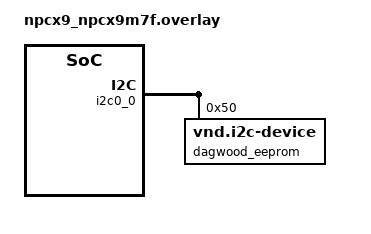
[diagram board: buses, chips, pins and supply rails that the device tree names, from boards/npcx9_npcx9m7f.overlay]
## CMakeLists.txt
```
# Copyright 2026 The ChromiumOS Authors
# Use of this source code is governed by a BSD-style license that can be
# found in the LICENSE file.

cmake_minimum_required(VERSION 3.20.0)
find_package(Zephyr REQUIRED HINTS $ENV{ZEPHYR_BASE})
project(aic_i2c_tests)

target_sources(app PRIVATE src/main.c)
```

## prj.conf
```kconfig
# Copyright 2026 The ChromiumOS Authors
# Use of this source code is governed by a BSD-style license that can be
# found in the LICENSE file.

CONFIG_ZTEST=y

CONFIG_I2C=y
```

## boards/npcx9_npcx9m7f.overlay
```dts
/* Copyright 2026 The ChromiumOS Authors
 * Use of this source code is governed by a BSD-style license that can be
 * found in the LICENSE file.
 */

#include "../../../../program/ec-aic/npcx-aic/project.overlay"

&i2c0_0 {
	dagwood_eeprom: dagwood-eeprom@50 {
		compatible = "vnd.i2c-device";
                reg = <0x50>;
	};
};
```

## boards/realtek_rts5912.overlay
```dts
/* Copyright 2026 The ChromiumOS Authors
 * Use of this source code is governed by a BSD-style license that can be
 * found in the LICENSE file.
 */

#include "../../../../program/ec-aic/rtk-aic/project.overlay"

&i2c_3 {
	dagwood_eeprom: dagwood-eeprom@50 {
		compatible = "vnd.i2c-device";
                reg = <0x50>;
	};
};
```

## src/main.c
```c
/*
 * Copyright 2026 The ChromiumOS Authors
 * Use of this source code is governed by a BSD-style license that can be
 * found in the LICENSE file.
 */

#include <zephyr/device.h>
#include <zephyr/drivers/i2c.h>
#include <zephyr/logging/log.h>
#include <zephyr/ztest.h>

#define DAGWOOD_I2C_DEV DT_NODELABEL(dagwood_eeprom)

LOG_MODULE_REGISTER(aic_i2c);

DEVICE_DT_DEFINE(DAGWOOD_I2C_DEV, NULL, NULL, NULL, NULL, POST_KERNEL, 90, 0);

struct aic_i2c_fixture {
	struct i2c_dt_spec dagwood_eeprom;
};

static void *aic_i2c_setup(void)
{
	static struct aic_i2c_fixture fixture = {
		.dagwood_eeprom = I2C_DT_SPEC_GET(DAGWOOD_I2C_DEV),
	};

	return &fixture;
}

ZTEST_SUITE(aic_i2c, NULL, aic_i2c_setup, NULL, NULL, NULL);

#define I2C_GOOD_OFFSET 24

ZTEST_F(aic_i2c, test_i2c_read_write)
{
	uint8_t read_byte;
	uint8_t write_byte;
	const struct i2c_dt_spec *i2c_spec = &fixture->dagwood_eeprom;

	LOG_INF("Dagwood eeprom %s:0x%02x", fixture->dagwood_eeprom.bus->name,
		fixture->dagwood_eeprom.addr);

	zassert_ok(i2c_reg_read_byte_dt(i2c_spec, I2C_GOOD_OFFSET, &read_byte));

	write_byte = ~read_byte;
	zassert_ok(
		i2c_reg_write_byte_dt(i2c_spec, I2C_GOOD_OFFSET, write_byte));

	zassert_ok(i2c_reg_read_byte_dt(i2c_spec, I2C_GOOD_OFFSET, &read_byte));

	zassert_equal(read_byte, write_byte);

	LOG_INF("I2C Read modify write successful");
}
```
